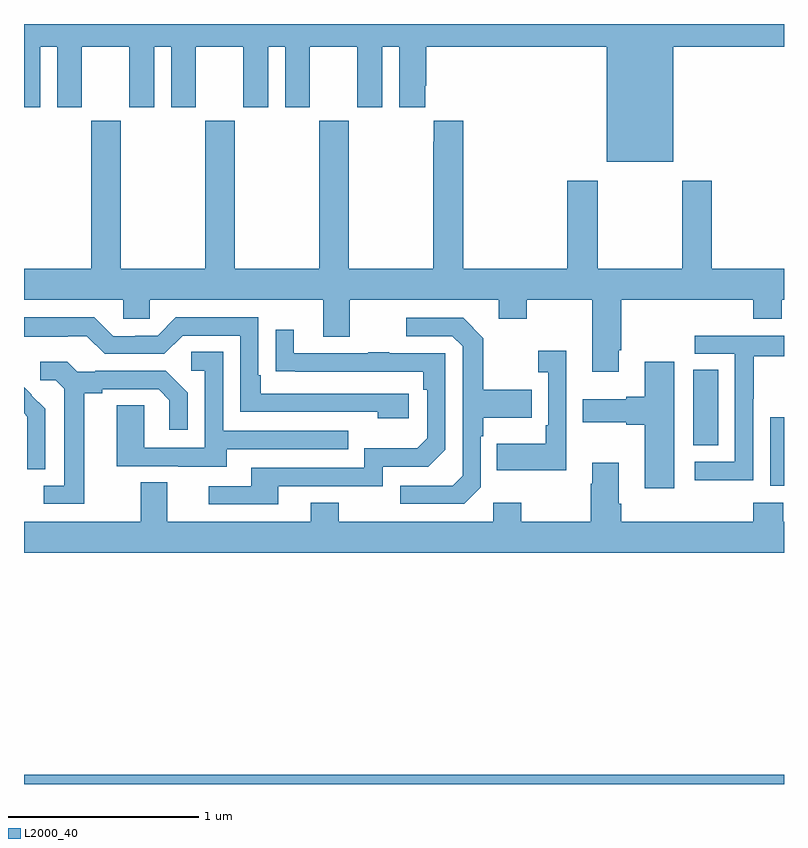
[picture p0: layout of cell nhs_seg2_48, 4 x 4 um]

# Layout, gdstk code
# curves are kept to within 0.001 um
import gdstk
lib = gdstk.Library(unit=1e-6, precision=1e-09)
def R(c, l, rs):  # rectangles x0, y0, x1, y1
    for r in rs: c.add(gdstk.rectangle(r[:2], r[2:], *l))
def P(c, l, *ps):  # polygons
    for p in ps: c.add(gdstk.Polygon(p, *l))
L2000_40 = (2000, 40)

nhs_seg2_48 = lib.new_cell('nhs_seg2_48')
R(nhs_seg2_48, L2000_40, [(113,599.8,117,599.848), (116.927,601.37,117,601.731), (116.522,601.582,116.653,601.979)])
P(nhs_seg2_48, L2000_40, [(116.416,603.68),(117,603.68),(117,603.8),(113,603.8),(113,603.363),(113.086,603.363),(113.086,603.68),(113.174,603.68),(113.174,603.363),(113.305,603.363),(113.305,603.68),(113.555,603.68),(113.555,603.363),(113.686,603.363),(113.686,603.68),(113.774,603.68),(113.774,603.363),(113.905,603.363),(113.905,603.68),(114.155,603.68),(114.155,603.363),(114.286,603.363),(114.286,603.68),(114.374,603.68),(114.374,603.363),(114.505,603.363),(114.505,603.68),(114.755,603.68),(114.755,603.363),(114.886,603.363),(114.886,603.68),(114.974,603.68),(114.974,603.363),(115.111,603.363),(115.111,603.475),(115.118,603.475),(115.118,603.68),(116.066,603.68),(116.066,603.074),(116.416,603.074)],
  [(116.131,602.083),(116.144,602.083),(116.144,602.348),(116.837,602.348),(116.837,602.249),(116.989,602.249),(116.989,602.348),(117,602.348),(117,602.512),(116.619,602.512),(116.619,602.974),(116.464,602.974),(116.464,602.512),(116.019,602.512),(116.019,602.974),(115.859,602.974),(115.859,602.512),(115.313,602.512),(115.313,603.292),(115.157,603.292),(115.157,603.179),(115.153,603.179),(115.153,602.512),(114.708,602.512),(114.708,603.292),(114.553,603.292),(114.553,602.512),(114.108,602.512),(114.108,603.292),(113.953,603.292),(113.953,602.512),(113.508,602.512),(113.508,603.292),(113.353,603.292),(113.353,602.512),(113,602.512),(113,602.348),(113.523,602.348),(113.523,602.25),(113.661,602.25),(113.661,602.348),(114.575,602.348),(114.575,602.154),(114.715,602.154),(114.715,602.348),(115.499,602.348),(115.499,602.249),(115.647,602.249),(115.647,602.348),(115.991,602.348),(115.991,601.971),(116.131,601.971)],
  [(115.024,601.854),(114.247,601.854),(114.247,601.951),(114.234,601.951),(114.234,602.256),(113.799,602.256),(113.703,602.16),(113.585,602.16),(113.585,602.157),(113.469,602.157),(113.369,602.257),(113,602.257),(113,602.153),(113.231,602.153),(113.231,602.157),(113.331,602.157),(113.424,602.064),(113.739,602.064),(113.835,602.16),(114.138,602.16),(114.138,601.758),(114.863,601.758),(114.863,601.724),(115.024,601.724)],
  [(115.404,601.362),(115.404,601.631),(115.417,601.631),(115.417,601.727),(115.673,601.727),(115.673,601.875),(115.417,601.875),(115.417,602.147),(115.311,602.253),(115.011,602.253),(115.011,602.157),(115.254,602.157),(115.308,602.103),(115.308,601.422),(115.257,601.371),(114.981,601.371),(114.981,601.275),(115.317,601.275)],
  [(114.337,601.368),(114.888,601.368),(114.888,601.47),(115.128,601.47),(115.218,601.56),(115.218,602.067),(114.923,602.067),(114.923,602.072),(114.811,602.072),(114.811,602.067),(114.421,602.067),(114.421,602.191),(114.325,602.191),(114.325,601.972),(115.102,601.971),(115.102,601.874),(115.122,601.874),(115.122,601.62),(115.069,601.567),(114.792,601.567),(114.792,601.464),(114.197,601.464),(114.197,601.368),(113.973,601.368),(113.973,601.272),(114.337,601.272)],
  [(116.838,601.828),(116.841,601.828),(116.841,602.052),(117,602.052),(117,602.16),(116.529,602.16),(116.529,602.064),(116.742,602.064),(116.742,601.497),(116.529,601.497),(116.529,601.399),(116.838,601.399)],
  [(115.854,602.08),(115.707,602.08),(115.707,601.967),(115.758,601.967),(115.758,601.687),(115.746,601.687),(115.746,601.591),(115.489,601.591),(115.489,601.451),(115.854,601.451)],
  [(114.067,601.563),(114.707,601.563),(114.707,601.659),(114.048,601.659),(114.048,602.075),(113.88,602.075),(113.88,601.974),(113.952,601.974),(113.952,601.569),(113.634,601.569),(113.634,601.793),(113.489,601.793),(113.489,601.473),(113.813,601.473),(113.813,601.469),(114.067,601.469)],
  [(113.317,601.856),(113.413,601.856),(113.413,601.878),(113.708,601.878),(113.765,601.821),(113.765,601.665),(113.862,601.665),(113.862,601.858),(113.746,601.974),(113.374,601.974),(113.374,601.971),(113.28,601.971),(113.228,602.023),(113.085,602.023),(113.085,601.926),(113.166,601.926),(113.213,601.879),(113.213,601.371),(113.103,601.371),(113.103,601.275),(113.317,601.275)],
  [(116.422,602.023),(116.267,602.023),(116.267,601.838),(116.171,601.838),(116.171,601.825),(115.941,601.825),(115.941,601.703),(116.171,601.703),(116.171,601.691),(116.267,601.691),(116.267,601.356),(116.422,601.356)],
  [(113.112,601.774),(113.039,601.847),(113.04,601.848),(113,601.888),(113,601.751),(113.018,601.733),(113.018,601.61),(113.016,601.61),(113.016,601.456),(113.112,601.456)],
  [(117,601.18),(116.997,601.18),(116.997,601.279),(116.837,601.279),(116.837,601.18),(116.144,601.18),(116.144,601.276),(116.131,601.276),(116.131,601.492),(115.991,601.492),(115.991,601.379),(115.984,601.379),(115.984,601.18),(115.617,601.18),(115.617,601.279),(115.47,601.279),(115.47,601.18),(114.657,601.18),(114.657,601.279),(114.509,601.279),(114.509,601.18),(113.755,601.18),(113.755,601.388),(113.615,601.388),(113.615,601.18),(113,601.18),(113,601.016),(117,601.016)])

lib.write_gds('nhs_seg2_48.gds')
